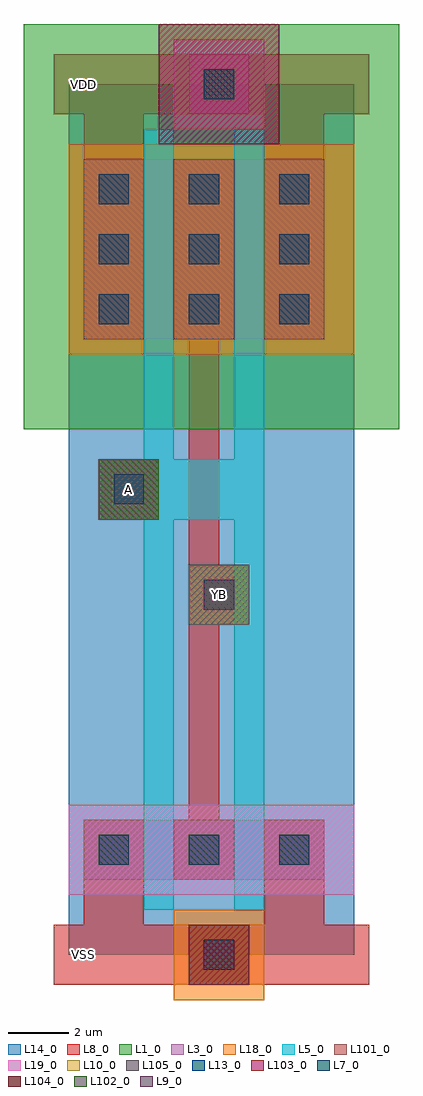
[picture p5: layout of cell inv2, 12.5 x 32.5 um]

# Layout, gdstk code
import gdstk
lib = gdstk.Library(unit=1e-6, precision=1e-09)
def R(c, l, rs):  # rectangles x0, y0, x1, y1
    for r in rs: c.add(gdstk.rectangle(r[:2], r[2:], *l))
L1_0 = (1, 0)
L3_0 = (3, 0)
L5_0 = (5, 0)
L7_0 = (7, 0)
L8_0 = (8, 0)
L9_0 = (9, 0)
L10_0 = (10, 0)
L13_0 = (13, 0)
L14_0 = (14, 0)
L18_0 = (18, 0)
L19_0 = (19, 0)
L101_0 = (101, 0)
L102_0 = (102, 0)
L103_0 = (103, 0)
L104_0 = (104, 0)
L105_0 = (105, 0)

dcont = lib.new_cell('dcont')
R(dcont, L3_0, [(-1,-1,1,1)])
R(dcont, L7_0, [(-0.5,-0.5,0.5,0.5)])
R(dcont, L8_0, [(-1,-1,1,1)])
R(dcont, L13_0, [(-0.5,-0.5,0.5,0.5)])
R(dcont, L101_0, [(-1,-1,1,1)])
dcont.add(gdstk.Label('dcont', (0,0), layer=13, texttype=0))

nsubcont = lib.new_cell('nsubcont')
R(nsubcont, L1_0, [(-2,-2,2,2)])
R(nsubcont, L19_0, [(-1.5,-1.5,1.5,1.5)])
R(nsubcont, L103_0, [(-2,-2,2,2)])
nsubcont.add(gdstk.Reference(dcont, (0,0)))
nsubcont.add(gdstk.Label('NScont', (0,0), layer=13, texttype=0))

via = lib.new_cell('Via')
R(via, L8_0, [(-1,-1,1,1)])
R(via, L9_0, [(-0.5,-0.5,0.5,0.5)])
R(via, L10_0, [(-1,-1,1,1)])
R(via, L13_0, [(-0.5,-0.5,0.5,0.5)])
R(via, L105_0, [(-1,-1,1,1)])
via.add(gdstk.Label('via', (0,0), layer=13, texttype=0))

psubcont = lib.new_cell('psubcont')
R(psubcont, L18_0, [(-1.5,-1.5,1.5,1.5)])
R(psubcont, L104_0, [(-1,-1,1,1)])
psubcont.add(gdstk.Reference(dcont, (0,0)))
psubcont.add(gdstk.Label('PScon', (0,0), layer=13, texttype=0))

pcont = lib.new_cell('pcont')
R(pcont, L5_0, [(-1,-1,1,1)])
R(pcont, L7_0, [(-0.5,-0.5,0.5,0.5)])
R(pcont, L8_0, [(-1,-1,1,1)])
R(pcont, L102_0, [(-1,-1,1,1)])
pcont.add(gdstk.Label('pcont', (0,0), layer=13, texttype=0))

inv2 = lib.new_cell('inv2')
R(inv2, L1_0, [(-1.5,17.5,11,31)])
R(inv2, L3_0, [(0.5,2.5,8.5,4.5), (0.5,20.5,8.5,26.5)])
R(inv2, L8_0, [(-0.5,-1,10,1), (-0.5,-1,10,1), (4,11,6,13), (4,11,6,13), (1,14.5,3,16.5), (1,14.5,3,16.5), (-0.5,28,10,30), (-0.5,28,10,30)])
R(inv2, L10_0, [(4,11,6,13), (4,11,6,13), (1,14.5,3,16.5), (1,14.5,3,16.5)])
R(inv2, L14_0, [(0,0,9.5,29)])
R(inv2, L18_0, [(0,20,9.5,27)])
R(inv2, L19_0, [(0,2,9.5,5)])
R(inv2, L105_0, [(4,11,6,13), (1,14.5,3,16.5)])
inv2.add(gdstk.FlexPath([(3,2),(3,15),(6,15)], 1, ends="extended", simple_path=True, layer=5, datatype=0))  # L5_0
inv2.add(gdstk.FlexPath([(3,27),(3,16),(6,16)], 1, ends="extended", simple_path=True, layer=5, datatype=0))  # L5_0
inv2.add(gdstk.FlexPath([(6,27),(6,2)], 1, ends="extended", simple_path=True, layer=5, datatype=0))  # L5_0
inv2.add(gdstk.FlexPath([(4.5,20.5),(4.5,3.8)], 1, ends="extended", simple_path=True, layer=8, datatype=0))  # L8_0
inv2.add(gdstk.FlexPath([(4.5,22.3),(4.5,25.5)], 1.4, ends="extended", simple_path=True, layer=8, datatype=0))  # L8_0
inv2.add(gdstk.FlexPath([(1.5,1),(1.5,3.5)], 2, ends="extended", simple_path=True, layer=8, datatype=0))  # L8_0
inv2.add(gdstk.FlexPath([(1.5,21.5),(1.5,28.5)], 2, ends="extended", simple_path=True, layer=8, datatype=0))  # L8_0
inv2.add(gdstk.FlexPath([(7.5,21.5),(7.5,28.5)], 2, ends="extended", simple_path=True, layer=8, datatype=0))  # L8_0
inv2.add(gdstk.FlexPath([(7.5,1),(7.5,3.5)], 2, ends="extended", simple_path=True, layer=8, datatype=0))  # L8_0
inv2.add(gdstk.Reference(dcont, (4.5,21.5)))
inv2.add(gdstk.Reference(dcont, (1.5,25.5)))
inv2.add(gdstk.Reference(dcont, (4.5,25.5)))
inv2.add(gdstk.Reference(dcont, (7.5,25.5)))
inv2.add(gdstk.Reference(nsubcont, (5,29)))
inv2.add(gdstk.Reference(via, (2,15.5)))
inv2.add(gdstk.Reference(dcont, (1.5,21.5)))
inv2.add(gdstk.Reference(dcont, (4.5,3.5)))
inv2.add(gdstk.Reference(via, (5,12)))
inv2.add(gdstk.Reference(dcont, (7.5,23.5)))
inv2.add(gdstk.Reference(dcont, (1.5,3.5)))
inv2.add(gdstk.Reference(dcont, (7.5,21.5)))
inv2.add(gdstk.Reference(dcont, (1.5,23.5)))
inv2.add(gdstk.Reference(psubcont, (5,0)))
inv2.add(gdstk.Reference(dcont, (4.5,23.5)))
inv2.add(gdstk.Reference(dcont, (7.5,3.5)))
inv2.add(gdstk.Reference(pcont, (2,15.5)))
inv2.add(gdstk.Label('VSS', (0.5,0), layer=8, texttype=0))
inv2.add(gdstk.Label('VDD', (0.5,29), layer=8, texttype=0))
inv2.add(gdstk.Label('A', (2,15.5), layer=10, texttype=0))
inv2.add(gdstk.Label('YB', (5,12), layer=10, texttype=0))
inv2.add(gdstk.Label('via', (2,15.5), layer=13, texttype=0))
inv2.add(gdstk.Label('via', (5,12), layer=13, texttype=0))

lib.write_gds('inv2.gds')
